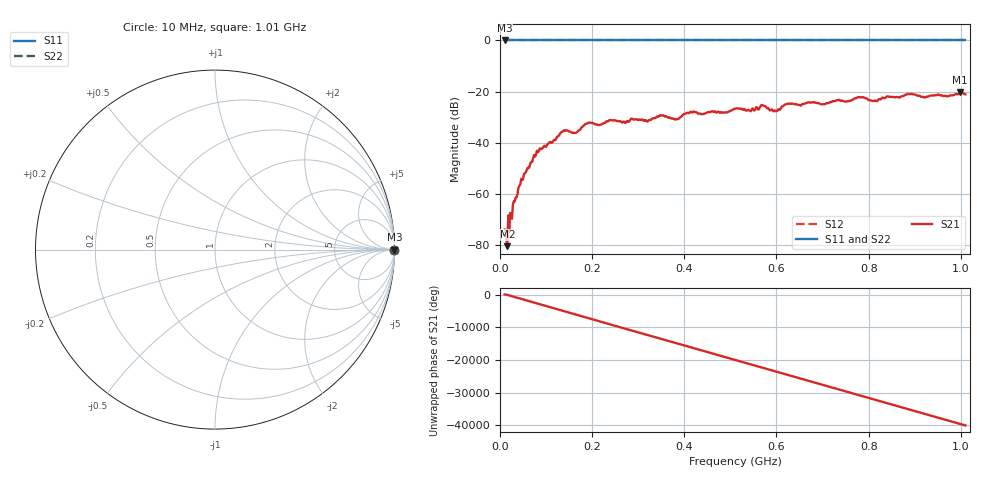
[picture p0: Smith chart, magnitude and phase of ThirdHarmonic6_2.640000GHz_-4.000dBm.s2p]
! 8/17/2025 5:57:24 AM
! C:\ANRITSUVNA\TEMP\TEMP.S2P
! CHANNEL.1
! TR.MEASUREMENT
! RAW.DATA
! RF.CORRECTION.OFF
! AVERAGING.OFF
! IF.BANDWIDTH: 5KHZ
! SWEEPTYPE:  FREQ.SWEEP(Linear)
! Reference Plane Port Info
! PORT:  PORT1  PORT2
! DISTANCE:  0  m  0  m
! TIME:  0  s  0  s
! PHASE.OFFSET:  0  deg.  0  deg.
! LOSS:  0  dB  0  dB
! REF.LOSS:  0  dB  0  dB
! REF.FREQ:  0  Hz  0  Hz
! Power Info
! POWER:  -20  dBm  -20  dBm
! EFF.POWER:  -20  dBm  -20  dBm
! SOURCE.ATTEN:  0  dB  0  dB
! TEST.ATTEN:  0  dB  0  dB
# GHZ S RI R 50.0
! FREQ.GHZ  S11RE  S11IM  S21RE  S21IM  S12RE  S12IM  S22RE  S22IM
!; PortSelection: Port_12
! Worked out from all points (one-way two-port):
!   501 points, 10 MHz to 1.01 GHz, reference 50 ohm
!   highest |S21| = -20.31 dB at 998 MHz (marker M1); lowest = -80.4 dB at 16 MHz (marker M2)
!   lowest |S11| = 0.0 dB at 10 MHz (marker M3)
!   |S11| at or under -10 dB: nowhere
!   |S22| runs from 0.0 to 0.0 dB; largest |S21 - S12| = 1.1
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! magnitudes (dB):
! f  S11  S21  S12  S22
! 10 MHz  0.0  -73.9  0.0  0.0
! 16 MHz  0.0  -80.4  0.0  0.0
! 32 MHz  0.0  -63.0  0.0  0.0
! 44 MHz  0.0  -56.3  0.0  0.0
! 76 MHz  0.0  -45.4  0.0  0.0
! 136 MHz  0.0  -35.6  0.0  0.0
! 162 MHz  0.0  -36.2  0.0  0.0
! 178 MHz  0.0  -33.8  0.0  0.0
! 192 MHz  0.0  -32.1  0.0  0.0
! 322 MHz  0.0  -31.3  0.0  0.0
! 344 MHz  0.0  -29.8  0.0  0.0
! 384 MHz  0.0  -30.8  0.0  0.0
! 416 MHz  0.0  -28.1  0.0  0.0
! 510 MHz  0.0  -26.7  0.0  0.0
! 540 MHz  0.0  -27.2  0.0  0.0
! 570 MHz  0.0  -25.3  0.0  0.0
! 598 MHz  0.0  -27.6  0.0  0.0
! 622 MHz  0.0  -24.9  0.0  0.0
! 678 MHz  0.0  -24.2  0.0  0.0
! 844 MHz  0.0  -22.0  0.0  0.0
! 998 MHz  0.0  -20.3  0.0  0.0
! 1.01 GHz  0.0  -21.1  0.0  0.0
